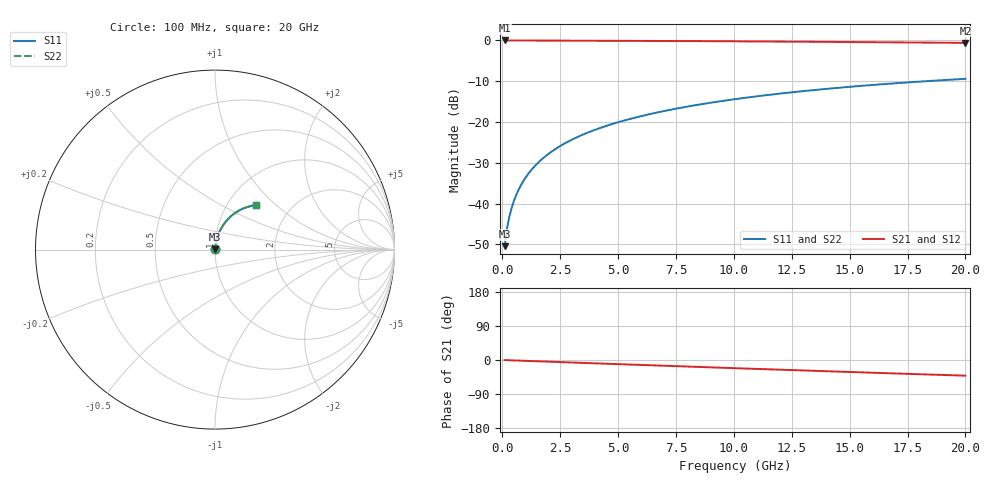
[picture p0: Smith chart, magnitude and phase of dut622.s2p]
! Touchstone file exported from HFSS 2026.1.0
!  File:  C:/ffzhzh/LocalFiles/Ansys_Project_Files/temp_train_BSMRDL_622_1783016429_46388.aedt
!  Generated:  02:21:59 AM Jul  3, 2026
!  Design:  BSMRDL
!  Project:  temp_train_BSMRDL_622_1783016429_46388
! Variables:
!  h_bsmrdl = 4.31um
!  h_ox = 20um
!  h_rdl = 5um
!  h_sub = 80um
!  h_tmrdl = 5um
!  h_tsv = 80um
!  h_via = 3um
!  l_bsmrdl = 618.85um
!  l_sub = 1018.85um
!  l_tmrdl = 200um
!  m_sub = 200um
!  pitch = 56.08um
!  r_tsv = 6um
!  s_tmrdl = 10um
!  w_bsmrdl = 29.45um
!  w_sub = 500um
!  w_tmrdl = 12um
!  x_tsv_center1 = 206um
!  x_tsv_center2 = 854.3um
!  x_tsv_center3 = 1066.3um
!  x_tsv_center4 = 1714.6um
!  x_tsv_center5 = 1926.6um
!  x_tsv_center6 = 2574.9um
# GHz S MA R 50.000000
! Terminal data exported
! Port[1] = BSM_RDL1_1_T1
! Port[2] = BSM_RDL1_1_T2
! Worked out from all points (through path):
!   200 points, 100 MHz to 20 GHz, reference 50 ohm
!   highest |S21| = -0.02 dB at 100 MHz (marker M1); lowest = -0.6 dB at 20 GHz (marker M2)
!   group delay of S21, straight-line fit = 5.74 ps
!   lowest |S11| = -50.4 dB at 100 MHz (marker M3), VSWR 1.01, Z = 50.2 + j0.227 ohm
!   |S11| at or under -10 dB: start of sweep to 18.3 GHz
!   |S22| runs from -50.4 to -9.4 dB; largest |S21 - S12| = 2e-15
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0.1  0.003003 48.9  0.998 -0.2  0.998 -0.2  0.003003 48.9
! Gamma 0 0 0 0
! Port Impedance 50 0 50 0
0.2  0.004887 63.6  0.9979 -0.5  0.9979 -0.5  0.004887 63.6
0.3  0.006818 69.9  0.9977 -0.7  0.9977 -0.7  0.006818 69.9
0.4  0.008761 73.5  0.9976 -0.9  0.9976 -0.9  0.008761 73.5
0.5  0.01072 75.8  0.9975 -1.1  0.9975 -1.1  0.01072 75.8
0.7  0.01468 78.6  0.9974 -1.6  0.9974 -1.6  0.01468 78.6
0.8  0.01668 79.5  0.9973 -1.8  0.9973 -1.8  0.01668 79.5
1  0.02069 80.5  0.9972 -2.2  0.9972 -2.2  0.02069 80.5
1.2  0.02471 81.1  0.997 -2.7  0.997 -2.7  0.02471 81.1
1.4  0.02873 81.4  0.9968 -3.1  0.9968 -3.1  0.02873 81.4
1.7  0.03475 81.4  0.9965 -3.8  0.9965 -3.8  0.03475 81.4
2  0.04076 81.3  0.9961 -4.4  0.9961 -4.4  0.04076 81.3
2.7  0.05468 80.4  0.9951 -6.0  0.9951 -6.0  0.05468 80.4
3.5  0.07039 79.1  0.9936 -7.7  0.9936 -7.7  0.07039 79.1
4.2  0.08395 77.8  0.9921 -9.2  0.9921 -9.2  0.08395 77.8
5  0.09923 76.3  0.9902 -11.0  0.9902 -11.0  0.09923 76.2
6.8  0.1328 72.7  0.9853 -14.8  0.9853 -14.8  0.1328 72.7
8.3  0.1598 69.7  0.9806 -18.0  0.9806 -18.0  0.1598 69.7
10.1  0.1912 66.1  0.9744 -21.7  0.9744 -21.7  0.1912 66.1
13.4  0.2452 59.7  0.9614 -28.5  0.9614 -28.5  0.2452 59.7
16.7  0.2943 53.3  0.947 -35.0  0.947 -35.0  0.2943 53.3
20  0.338 47.1  0.9319 -41.4  0.9319 -41.4  0.338 47.1
